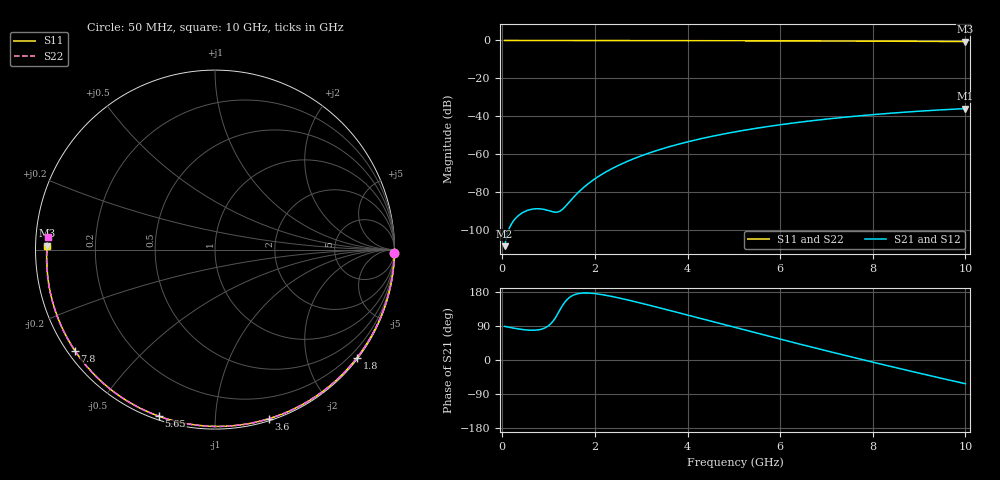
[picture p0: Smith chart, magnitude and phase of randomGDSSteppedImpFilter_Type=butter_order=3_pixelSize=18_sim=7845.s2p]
! freq	dB(S11)	phase(S11)	dB(S12)	phase(S12)
!  dB(S21)	phase(S21)	dB(S22)	phase(S22)
!S-par simulation data
#  GHz  S  DB  R 50
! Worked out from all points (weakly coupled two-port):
!   200 points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, 50 MHz to 10 GHz, reference 50 ohm
!   highest |S21| = -35.90 dB at 10 GHz (marker M1); lowest = -108.4 dB at 50 MHz (marker M2)
!   lowest |S11| = -0.6 dB at 10 GHz (marker M3), VSWR 29.94, Z = 1.67 + j0.587 ohm
!   |S11| at or under -10 dB: nowhere
!   |S22| runs from -0.6 to 0.0 dB; largest |S21 - S12| = 0
!   S11 on the Smith chart (normalised r, x): 50 MHz: open; 1.8 GHz: 0.03, -2.96; 3.6 GHz: 0.02, -1.37; 5.65 GHz: 0.02, -0.72; 7.8 GHz: 0.02, -0.32; 10 GHz: 0.03, +0.01
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0.05  -0.00 -1.1  -108.39 88.7  -108.39 88.7  -0.00 -1.1
0.4  -0.01 -8.5  -91.33 81.0  -91.33 81.0  -0.01 -8.5
0.8  -0.02 -16.8  -88.68 80.0  -88.68 80.0  -0.02 -16.9
1.6  -0.04 -33.3  -81.05 174.0  -81.05 174.0  -0.04 -33.5
1.65  -0.04 -34.3  -79.84 175.4  -79.84 175.4  -0.04 -34.5
1.75  -0.05 -36.3  -77.59 176.7  -77.59 176.7  -0.05 -36.5
1.8  -0.05 -37.3  -76.56 176.8  -76.56 176.8  -0.05 -37.6
2.1  -0.06 -43.4  -71.28 173.5  -71.28 173.5  -0.06 -43.6
2.45  -0.06 -50.3  -66.52 165.5  -66.52 165.5  -0.06 -50.6
2.9  -0.08 -59.0  -61.71 152.9  -61.71 152.9  -0.08 -59.4
3.4  -0.09 -68.6  -57.49 137.6  -57.49 137.6  -0.09 -69.0
3.6  -0.10 -72.3  -56.03 131.3  -56.03 131.3  -0.10 -72.8
4.3  -0.12 -85.1  -51.71 108.9  -51.71 108.9  -0.12 -85.7
5.05  -0.15 -98.4  -48.05 85.0  -48.05 85.0  -0.15 -99.1
5.65  -0.18 -108.7  -45.65 66.0  -45.65 66.0  -0.18 -109.5
6.15  -0.21 -117.1  -43.92 50.4  -43.92 50.4  -0.21 -118.0
6.7  -0.24 -126.2  -42.25 33.4  -42.25 33.4  -0.25 -127.3
7.25  -0.29 -135.2  -40.79 16.7  -40.79 16.7  -0.29 -136.5
7.8  -0.33 -144.2  -39.52 0.3  -39.52 0.3  -0.34 -145.7
8.35  -0.39 -153.3  -38.40 -15.9  -38.40 -15.9  -0.39 -155.0
9.2  -0.48 -167.5  -36.96 -40.3  -36.96 -40.3  -0.49 -169.7
10  -0.58 178.7  -35.90 -62.6  -35.90 -62.6  -0.59 175.8
